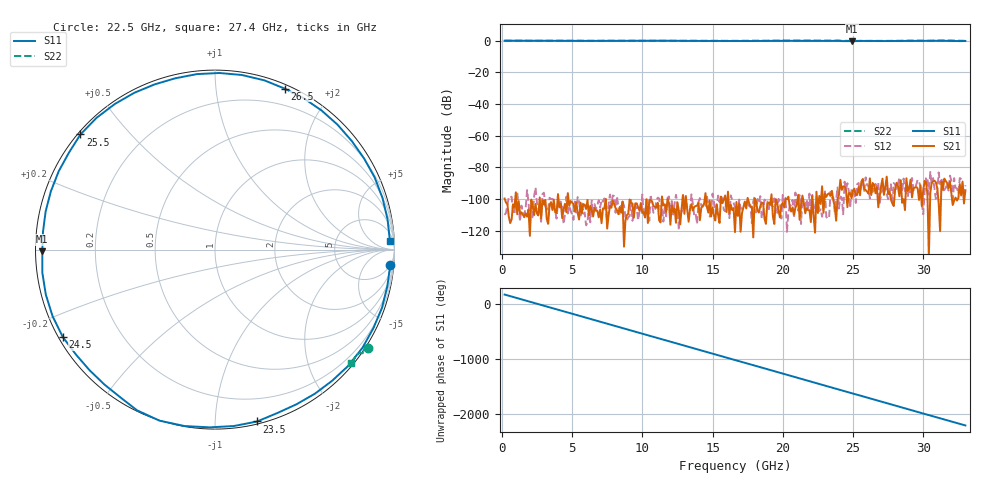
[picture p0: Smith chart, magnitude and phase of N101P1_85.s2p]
# GHZ S RI R 50
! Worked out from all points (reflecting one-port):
!   329 points, 200 MHz to 33 GHz, reference 50 ohm
!   lowest |S11| = -0.3 dB at 24.9 GHz (marker M1), VSWR 51.84, Z = 0.965 - j0.237 ohm
!   phase of S11 starts at 165 deg and turns -2368 deg over the sweep
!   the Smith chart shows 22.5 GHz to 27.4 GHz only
!   S11 on the Smith chart (normalised r, x): 22.5 GHz: 5, -22; 23.5 GHz: 0.02, -1.27; 24.5 GHz: 0.01, -0.27; 25.5 GHz: 0.01, +0.37; 26.5 GHz: 0.04, +1.52; 27.4 GHz: 17, +33
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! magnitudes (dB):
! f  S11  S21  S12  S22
! 200 MHz  0.0  -99.7  -110.2  0.0
! 5.7 GHz  -0.1  -109.2  -101.6  0.0
! 11.2 GHz  0.0  -113.6  -99.7  0.0
! 16.6 GHz  -0.2  -121.0  -105.0  -0.1
! 20.7 GHz  0.0  -105.4  -100.6  0.1
! 22.1 GHz  -0.1  -98.1  -97.5  0.1
! 22.5 GHz  -0.2  -108.9  -101.0  0.1
! 23.4 GHz  -0.2  -98.1  -95.4  0.0
! 23.5 GHz  -0.1  -94.9  -99.3  0.0
! 23.9 GHz  0.0  -100.0  -92.8  0.1
! 24.2 GHz  -0.2  -94.3  -99.2  -0.1
! 24.5 GHz  -0.2  -94.3  -94.0  -0.1
! 24.9 GHz  -0.3  -99.6  -93.5  -0.1
! 25.5 GHz  -0.1  -97.2  -97.8  -0.2
! 26.5 GHz  -0.2  -91.0  -93.0  -0.1
! 27.4 GHz  -0.2  -85.9  -96.8  -0.1
! 27.6 GHz  -0.2  -95.2  -94.9  -0.1
! 29.5 GHz  -0.1  -92.5  -91.0  0.1
! 30.2 GHz  -0.1  -89.2  -86.3  -0.1
! 31.3 GHz  0.0  -88.9  -86.8  0.1
! 31.9 GHz  -0.2  -89.1  -85.3  0.1
! 33 GHz  -0.2  -94.6  -91.4  -0.1
